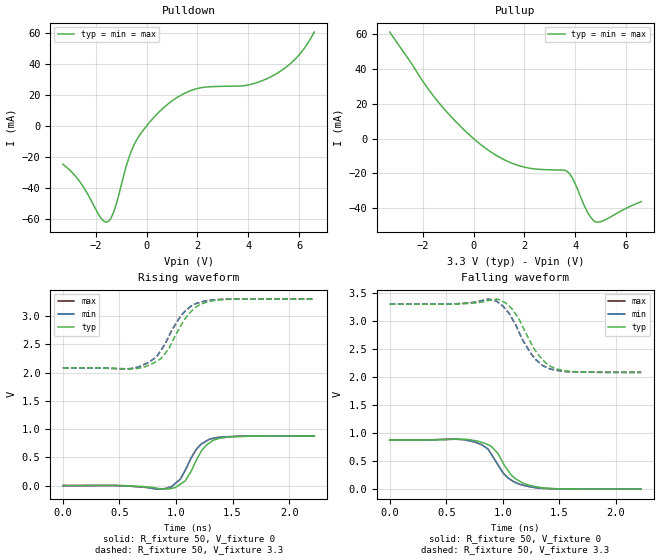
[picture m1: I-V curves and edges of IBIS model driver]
| IBIS file ex2_weak_tr100ps.ibs created by PYS2IBIS3
| Missouri S&T EMC Lab
[IBIS Ver] 7.1
[File Name] ex2_weak_tr100ps.ibs
[File Rev] 1.0
[Date] July 28, 2026
[Source] ex2 variant 'weak' -- output stage at half width
[Notes] Parameter selection; sim_time=2.222e-09, tr=tf=1.000e-10.
[Disclaimer] Experimental characterization for pybis observability study.
[Component] MCM Driver 1
[Manufacturer] MegaFLOPS Inc.
[Package]
| variable   typ   min   max
R_pkg 0 NA NA
L_pkg 0H NA NA
C_pkg 0F NA NA
[Pin]  signal_name   model_name   R_pin   L_pin   C_pin
vdd   vdd   POWER
gnd   gnd   GND
| in in dummy
out   out   driver
| End of Component
| Models and submodels in the file (1): driver (Output)
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[Model] driver
Model_type Output
Polarity Non-Inverting
Enable Active-Low
Vinl  = 0.8V
Vinh  = 2V
C_comp 5.0000pF 5.0000pF 5.0000pF
[Temperature Range] 27.0000 27.0000 27.0000
[Voltage Range] 3.3000V 3.3000V 3.3000V
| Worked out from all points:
|   slope of the pulldown table from 0 to 0.495 V, typ, clamps not added: 54.7 ohm
|   slope of the pullup table from 0 to 0.495 V, typ, clamps not added: 85.1 ohm
|   rising waveform, R_fixture 50, V_fixture 0: 20-80 % time 150ps typ, 151ps min, 151ps max; typ from 0 V to 0.876 V
|   rising waveform, R_fixture 50, V_fixture 3.3: 20-80 % time 223ps typ, 221ps min, 221ps max; typ from 2.08 V to 3.3 V
|   falling waveform, R_fixture 50, V_fixture 0: 20-80 % time 192ps typ, 190ps min, 190ps max; typ from 0.876 V to 0 V
|   falling waveform, R_fixture 50, V_fixture 3.3: 20-80 % time 207ps typ, 208ps min, 208ps max; typ from 3.3 V to 2.08 V
[Pulldown]
| Voltage   I(typ)   I(min)   I(max)
-3.3V     -24.71mA   -24.71mA   -24.71mA
-2.6V     -36.69mA   -36.69mA   -36.69mA
-1.8V     -59.35mA   -59.35mA   -59.35mA
-1.5V     -61.44mA   -61.44mA   -61.44mA
-1.3V     -55.57mA   -55.57mA   -55.57mA
-500mV    -12.32mA   -12.32mA   -12.32mA
600mV     10.7mA     10.7mA     10.7mA
1.9V      23.61mA    23.61mA    23.61mA
3.9V      26.05mA    26.05mA    26.05mA
4.9V      31.7mA     31.7mA     31.7mA
5.9V      43.88mA    43.88mA    43.88mA
6.6V      60.38mA    60.38mA    60.38mA
[Pullup]
| Voltage   I(typ)   I(min)   I(max)
-3.3V     61.37mA    61.37mA    61.37mA
-1.9V     30.97mA    30.97mA    30.97mA
-1.3V     19.49mA    19.49mA    19.49mA
-200mV    2.648mA    2.648mA    2.648mA
700mV     -7.897mA   -7.897mA   -7.897mA
2V        -16.47mA   -16.47mA   -16.47mA
3.7V      -19.09mA   -19.09mA   -19.09mA
3.9V      -22.93mA   -22.93mA   -22.93mA
4.5V      -42.81mA   -42.81mA   -42.81mA
4.8V      -48.13mA   -48.13mA   -48.13mA
5.1V      -47.39mA   -47.39mA   -47.39mA
6.6V      -36.41mA   -36.41mA   -36.41mA
[Ramp]
| variable   typ   min   max
dV/dt_r 0.5257/0.1501n 0.5258/0.1508n 0.5258/0.1508n
dV/dt_f 0.7308/0.2066n 0.7308/0.2078n 0.7308/0.2078n
R_load = 50
[Rising Waveform]
R_fixture = 50
V_fixture = 0
|time   V(typ)   V(min)   V(max)
0s        5.892nV    5.892nV    5.892nV
936.5ps   -60.96mV   -33.05mV   -33.05mV
1.037ns   21.94mV    108mV      108mV
1.081ns   81.81mV    268.6mV    268.6mV
1.181ns   456.7mV    645.5mV    645.5mV
1.23ns    627.2mV    744.4mV    744.4mV
1.292ns   751.1mV    817.9mV    817.9mV
1.375ns   833.1mV    852.3mV    852.3mV
1.495ns   864.3mV    868.5mV    868.5mV
2.222ns   876.2mV    876.3mV    876.3mV
[Rising Waveform]
R_fixture = 50
V_fixture = 3.3
|time   V(typ)   V(min)   V(max)
0s        2.081V     2.081V     2.081V
593.9ps   2.065V     2.068V     2.068V
785.2ps   2.151V     2.218V     2.218V
827.5ps   2.198V     2.275V     2.275V
934.3ps   2.414V     2.634V     2.634V
1.065ns   2.909V     3.057V     3.057V
1.166ns   3.145V     3.21V      3.21V
1.241ns   3.225V     3.261V     3.261V
1.45ns    3.294V     3.296V     3.296V
2.222ns   3.3V       3.3V       3.3V
[Falling Waveform]
R_fixture = 50
V_fixture = 0
|time   V(typ)   V(min)   V(max)
0s        876.4mV    876.4mV    876.4mV
651.8ps   890.5mV    883.7mV    883.7mV
829.7ps   827.4mV    769.6mV    769.6mV
869.8ps   791.2mV    713.2mV    713.2mV
952.1ps   647.6mV    446.9mV    446.9mV
1.039ns   351.2mV    212.2mV    212.2mV
1.112ns   185.8mV    118.2mV    118.2mV
1.203ns   89.52mV    56.45mV    56.45mV
1.473ns   7.456mV    4.632mV    4.632mV
2.222ns   29.48uV    17.78uV    17.78uV
[Falling Waveform]
R_fixture = 50
V_fixture = 3.3
|time   V(typ)   V(min)   V(max)
0s        3.3V       3.3V       3.3V
578.4ps   3.3V       3.304V     3.304V
872ps     3.364V     3.39V      3.39V
956.5ps   3.387V     3.333V     3.333V
1.081ns   3.215V     3.044V     3.044V
1.137ns   3.057V     2.825V     2.825V
1.248ns   2.603V     2.417V     2.417V
1.357ns   2.295V     2.199V     2.199V
1.551ns   2.11V      2.098V     2.098V
2.222ns   2.082V     2.082V     2.082V
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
